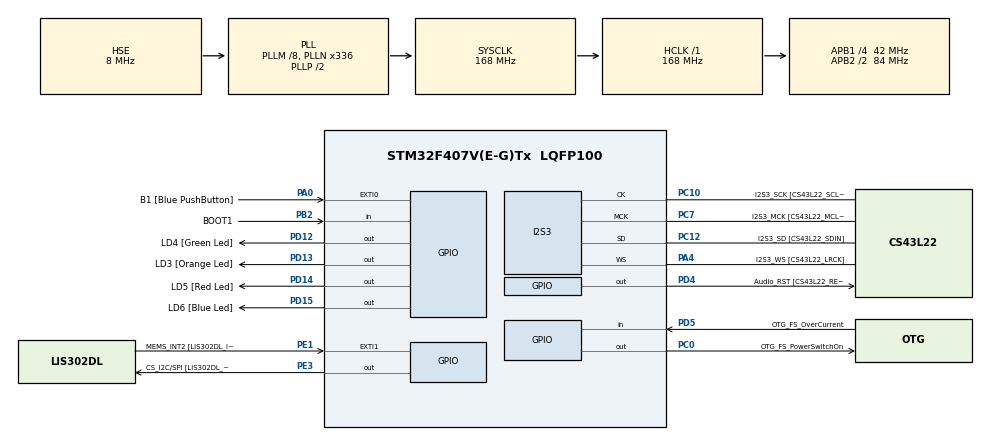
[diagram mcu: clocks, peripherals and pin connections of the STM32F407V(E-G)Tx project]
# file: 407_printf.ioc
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I2S3.AudioFreq-Half_Duplex_Master=I2S_AUDIOFREQ_96K
I2S3.ErrorAudioFreq=-2.34 %
I2S3.ErrorAudioFreq-Half_Duplex_Master=0.8 %
I2S3.FullDuplexMode=I2S_FULLDUPLEXMODE_DISABLE
I2S3.Instance=SPI$Index
I2S3.RealAudioFreq=93.75 KHz
I2S3.RealAudioFreq-Half_Duplex_Master=96.774 KHz
I2S3.VirtualMode=I2S_MODE_MASTER
Mcu.Family=STM32F4
Mcu.Name=STM32F407V(E-G)Tx
Mcu.Package=LQFP100
NVIC.PriorityGroup=NVIC_PRIORITYGROUP_0
PA0-WKUP.GPIO_Label=B1 [Blue PushButton]
PA0-WKUP.GPIO_ModeDefaultEXTI=GPIO_MODE_EVT_RISING
PA0-WKUP.GPIO_PuPd=GPIO_NOPULL
PA0-WKUP.Signal=GPXTI0
PA10.GPIO_Label=OTG_FS_ID
PA10.GPIO_Mode=GPIO_MODE_AF_PP
PA10.GPIO_PuPd=GPIO_NOPULL
PA10.GPIO_Speed=GPIO_SPEED_FREQ_LOW
PA10.Signal=USB_OTG_FS_ID
PA11.GPIO_Label=OTG_FS_DM
PA11.GPIO_Mode=GPIO_MODE_AF_PP
PA11.GPIO_PuPd=GPIO_NOPULL
PA11.GPIO_Speed=GPIO_SPEED_FREQ_LOW
PA11.Signal=USB_OTG_FS_DM
PA12.GPIO_Label=OTG_FS_DP
PA12.GPIO_Mode=GPIO_MODE_AF_PP
PA12.GPIO_PuPd=GPIO_NOPULL
PA12.GPIO_Speed=GPIO_SPEED_FREQ_LOW
PA12.Signal=USB_OTG_FS_DP
PA13.GPIO_Label=SWDIO
PA13.Mode=Trace_Asynchronous_SW
PA13.Signal=SYS_JTMS-SWDIO
PA14.GPIO_Label=SWCLK
PA14.Mode=Trace_Asynchronous_SW
PA14.Signal=SYS_JTCK-SWCLK
PA4.GPIO_Label=I2S3_WS [CS43L22_LRCK]
PA4.GPIO_Mode=GPIO_MODE_AF_PP
PA4.GPIO_PuPd=GPIO_NOPULL
PA4.GPIO_Speed=GPIO_SPEED_FREQ_LOW
PA4.Mode=Half_Duplex_Master
PA4.Signal=I2S3_WS
PA5.GPIO_Label=SPI1_SCK [LIS302DL_SCL/SPC]
PA5.GPIO_Mode=GPIO_MODE_AF_PP
PA5.GPIO_PuPd=GPIO_NOPULL
PA5.GPIO_Speed=GPIO_SPEED_FREQ_LOW
PA5.Signal=SPI1_SCK
PA6.GPIO_Label=SPI1_MISO [LIS302DL_SDO]
PA6.GPIO_Mode=GPIO_MODE_AF_PP
PA6.GPIO_PuPd=GPIO_NOPULL
PA6.GPIO_Speed=GPIO_SPEED_FREQ_LOW
PA6.Signal=SPI1_MISO
PA7.GPIO_Label=SPI1_MOSI [LIS302DL_SDA/SDI/SDO]
PA7.GPIO_Mode=GPIO_MODE_AF_PP
PA7.GPIO_PuPd=GPIO_NOPULL
PA7.GPIO_Speed=GPIO_SPEED_FREQ_LOW
PA7.Signal=SPI1_MOSI
PA9.GPIO_Label=VBUS_FS
PA9.GPIO_Mode=GPIO_MODE_INPUT
PA9.GPIO_PuPd=GPIO_NOPULL
PA9.Signal=USB_OTG_FS_VBUS
PB10.GPIO_Label=CLK_IN [MP45DT02_CLK]
PB10.GPIO_Mode=GPIO_MODE_AF_PP
PB10.GPIO_PuPd=GPIO_NOPULL
PB10.GPIO_Speed=GPIO_SPEED_FREQ_LOW
PB10.Signal=I2S2_CK
PB2.GPIO_Label=BOOT1
PB2.GPIO_Mode=GPIO_MODE_INPUT
PB2.GPIO_PuPd=GPIO_NOPULL
PB2.Signal=GPIO_Input
PB3.GPIO_Label=SWO
PB3.Mode=Trace_Asynchronous_SW
PB3.Signal=SYS_JTDO-SWO
PB6.GPIO_Label=Audio_SCL [CS43L22_SCL]
PB6.GPIO_Mode=GPIO_MODE_AF_OD
PB6.GPIO_Pu=GPIO_PULLUP
PB6.GPIO_PuPd=GPIO_NOPULL
PB6.GPIO_Speed=GPIO_SPEED_FREQ_LOW
PB6.Signal=I2C1_SCL
PB9.GPIO_Label=Audio_SDA [CS43L22_SDA]
PB9.GPIO_Mode=GPIO_MODE_AF_OD
PB9.GPIO_Pu=GPIO_PULLUP
PB9.GPIO_PuPd=GPIO_NOPULL
PB9.GPIO_Speed=GPIO_SPEED_FREQ_LOW
PB9.Signal=I2C1_SDA
PC0.GPIO_Label=OTG_FS_PowerSwitchOn
PC0.GPIO_PuPd=GPIO_NOPULL
PC0.GPIO_Speed=GPIO_SPEED_FREQ_LOW
PC0.PinState=GPIO_PIN_SET
PC0.Signal=GPIO_Output
PC10.GPIO_Label=I2S3_SCK [CS43L22_SCLK]
PC10.GPIO_Mode=GPIO_MODE_AF_PP
PC10.GPIO_PuPd=GPIO_NOPULL
PC10.GPIO_Speed=GPIO_SPEED_FREQ_LOW
PC10.Mode=Half_Duplex_Master
PC10.Signal=I2S3_CK
PC12.GPIO_Label=I2S3_SD [CS43L22_SDIN]
PC12.GPIO_Mode=GPIO_MODE_AF_PP
PC12.GPIO_PuPd=GPIO_NOPULL
PC12.GPIO_Speed=GPIO_SPEED_FREQ_LOW
PC12.Mode=Half_Duplex_Master
PC12.Signal=I2S3_SD
PC14-OSC32_IN.GPIO_Label=PC14-OSC32_IN
PC14-OSC32_IN.Mode=LSE-External-Oscillator
PC14-OSC32_IN.Signal=RCC_OSC32_IN
PC15-OSC32_OUT.GPIO_Label=PC15-OSC32_OUT
PC15-OSC32_OUT.Mode=LSE-External-Oscillator
PC15-OSC32_OUT.Signal=RCC_OSC32_OUT
PC3.GPIO_Label=PDM_OUT [MP45DT02_DOUT]
PC3.GPIO_Mode=GPIO_MODE_AF_PP
PC3.GPIO_PuPd=GPIO_NOPULL
PC3.GPIO_Speed=GPIO_SPEED_FREQ_LOW
PC3.Signal=I2S2_SD
PC7.GPIO_Label=I2S3_MCK [CS43L22_MCLK]
PC7.GPIO_Mode=GPIO_MODE_AF_PP
PC7.GPIO_PuPd=GPIO_NOPULL
PC7.GPIO_Speed=GPIO_SPEED_FREQ_LOW
PC7.Mode=Master_Clock_Activated
PC7.Signal=I2S3_MCK
PD12.GPIO_Label=LD4 [Green Led]
PD12.GPIO_PuPd=GPIO_NOPULL
PD12.GPIO_Speed=GPIO_SPEED_FREQ_LOW
PD12.Signal=GPIO_Output
PD13.GPIO_Label=LD3 [Orange Led]
PD13.GPIO_PuPd=GPIO_NOPULL
PD13.GPIO_Speed=GPIO_SPEED_FREQ_LOW
PD13.Signal=GPIO_Output
PD14.GPIO_Label=LD5 [Red Led]
PD14.GPIO_PuPd=GPIO_NOPULL
PD14.GPIO_Speed=GPIO_SPEED_FREQ_LOW
PD14.Signal=GPIO_Output
PD15.GPIO_Label=LD6 [Blue Led]
PD15.GPIO_PuPd=GPIO_NOPULL
PD15.GPIO_Speed=GPIO_SPEED_FREQ_LOW
PD15.Signal=GPIO_Output
PD4.GPIO_Label=Audio_RST [CS43L22_RESET]
PD4.GPIO_PuPd=GPIO_NOPULL
PD4.GPIO_Speed=GPIO_SPEED_FREQ_LOW
PD4.Signal=GPIO_Output
PD5.GPIO_Label=OTG_FS_OverCurrent
PD5.GPIO_Mode=GPIO_MODE_INPUT
PD5.GPIO_PuPd=GPIO_NOPULL
PD5.Signal=GPIO_Input
PE1.GPIO_Label=MEMS_INT2 [LIS302DL_INT2]
PE1.GPIO_ModeDefaultEXTI=GPIO_MODE_EVT_RISING
PE1.GPIO_PuPd=GPIO_NOPULL
PE1.Signal=GPXTI1
PE3.GPIO_Label=CS_I2C/SPI [LIS302DL_CS_I2C/SPI]
PE3.GPIO_PuPd=GPIO_NOPULL
PE3.GPIO_Speed=GPIO_SPEED_FREQ_LOW
PE3.Signal=GPIO_Output
PH0-OSC_IN.GPIO_Label=PH0-OSC_IN
PH0-OSC_IN.Mode=HSE-External-Oscillator
PH0-OSC_IN.Signal=RCC_OSC_IN
PH1-OSC_OUT.GPIO_Label=PH1-OSC_OUT
PH1-OSC_OUT.Mode=HSE-External-Oscillator
PH1-OSC_OUT.Signal=RCC_OSC_OUT
ProjectManager.HeapSize=0x200
ProjectManager.StackSize=0x400
ProjectManager.TargetToolchain=STM32CubeIDE
RCC.48MHZClocksFreq_Value=48000000
RCC.AHBFreq_Value=168000000
RCC.APB1CLKDivider=RCC_HCLK_DIV4
RCC.APB1Freq_Value=42000000
RCC.APB1TimFreq_Value=84000000
RCC.APB2CLKDivider=RCC_HCLK_DIV2
RCC.APB2Freq_Value=84000000
RCC.APB2TimFreq_Value=168000000
RCC.CortexFreq_Value=168000000
RCC.HCLKFreq_Value=168000000
RCC.HSE_VALUE=8000000
RCC.HSI_VALUE=16000000
RCC.PLLM=8
RCC.PLLN=336
RCC.PLLQ=7
RCC.PLLSourceVirtual=RCC_PLLSOURCE_HSE
RCC.SYSCLKFreq_VALUE=168000000
RCC.SYSCLKSource=RCC_SYSCLKSOURCE_PLLCLK
RCC.VCOOutputFreq_Value=336000000
board=STM32F407G-DISC1

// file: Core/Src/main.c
/* USER CODE BEGIN Header */
/**
  ******************************************************************************
  * @file           : main.c
  * @brief          : Main program body
  ******************************************************************************
  * @attention
  *
  * <h2><center>&copy; Copyright (c) 2022 STMicroelectronics.
  * All rights reserved.</center></h2>
  *
  * This software component is licensed by ST under Ultimate Liberty license
  * SLA0044, the "License"; You may not use this file except in compliance with
  * the License. You may obtain a copy of the License at:
  *                             www.st.com/SLA0044
  *
  ******************************************************************************
  */
/* USER CODE END Header */
#include "main.h"

/* USER CODE BEGIN Includes */
#include "stdio.h"
/* USER CODE END Includes */

/* USER CODE BEGIN PD */
#define DEMCR        			*((volatile uint32_t*) 0xE000EDFCU )
#define ITM_STIMULUS_PORT0   	*((volatile uint32_t*) 0xE0000000 )
#define ITM_TRACE_EN          	*((volatile uint32_t*) 0xE0000E00 )

/* USER CODE END PD */

I2S_HandleTypeDef hi2s3;

void SystemClock_Config(void);
static void MX_GPIO_Init(void);
static void MX_I2S3_Init(void);
/* USER CODE BEGIN PFP */
void xITM_SendChar(uint8_t ch)
{

	//Enable TRCENA
	DEMCR |= ( 1 << 24);

	//enable stimulus port 0
	ITM_TRACE_EN |= ( 1 << 0);

	// read FIFO status in bit [0]:
	while(!(ITM_STIMULUS_PORT0 & 1));

	//Write to ITM stimulus port0
	ITM_STIMULUS_PORT0 = ch;
}

int _write(int file, char *ptr, int len)
{
  /* Implement your write code here, this is used by puts and printf for example */
  int i=0;

  for(i=0 ; i<len ; i++)
    xITM_SendChar((*ptr++));

  return len;
}

/* USER CODE END PFP */

int main(void)
{

  /* MCU Configuration--------------------------------------------------------*/

  /* Reset of all peripherals, Initializes the Flash interface and the Systick. */
  HAL_Init();

  /* Configure the system clock */
  SystemClock_Config();

  /* Initialize all configured peripherals */
  MX_GPIO_Init();
  MX_I2S3_Init();

  /* Infinite loop */
  while (1)
  {

    /* USER CODE BEGIN 3 */
		printf("Merhaba!Merhaba!Merhaba!Merhaba!Merhaba!Merhaba!Merhaba!\n");
		HAL_Delay(1);
  }
  /* USER CODE END 3 */
}

void SystemClock_Config(void)
{
  RCC_OscInitTypeDef RCC_OscInitStruct = {0};
  RCC_ClkInitTypeDef RCC_ClkInitStruct = {0};

  /** Configure the main internal regulator output voltage
  */
  __HAL_RCC_PWR_CLK_ENABLE();
  __HAL_PWR_VOLTAGESCALING_CONFIG(PWR_REGULATOR_VOLTAGE_SCALE1);
  /** Initializes the RCC Oscillators according to the specified parameters
  * in the RCC_OscInitTypeDef structure.
  */
  RCC_OscInitStruct.OscillatorType = RCC_OSCILLATORTYPE_HSE;
  RCC_OscInitStruct.HSEState = RCC_HSE_ON;
  RCC_OscInitStruct.PLL.PLLState = RCC_PLL_ON;
  RCC_OscInitStruct.PLL.PLLSource = RCC_PLLSOURCE_HSE;
  RCC_OscInitStruct.PLL.PLLM = 8;
  RCC_OscInitStruct.PLL.PLLN = 336;
  RCC_OscInitStruct.PLL.PLLP = RCC_PLLP_DIV2;
  RCC_OscInitStruct.PLL.PLLQ = 7;
  if (HAL_RCC_OscConfig(&RCC_OscInitStruct) != HAL_OK)
  {
    Error_Handler();
  }
  /** Initializes the CPU, AHB and APB buses clocks
  */
  RCC_ClkInitStruct.ClockType = RCC_CLOCKTYPE_HCLK|RCC_CLOCKTYPE_SYSCLK
                              |RCC_CLOCKTYPE_PCLK1|RCC_CLOCKTYPE_PCLK2;
  RCC_ClkInitStruct.SYSCLKSource = RCC_SYSCLKSOURCE_PLLCLK;
  RCC_ClkInitStruct.AHBCLKDivider = RCC_SYSCLK_DIV1;
  RCC_ClkInitStruct.APB1CLKDivider = RCC_HCLK_DIV4;
  RCC_ClkInitStruct.APB2CLKDivider = RCC_HCLK_DIV2;

  if (HAL_RCC_ClockConfig(&RCC_ClkInitStruct, FLASH_LATENCY_5) != HAL_OK)
  {
    Error_Handler();
  }
}

static void MX_I2S3_Init(void)
{

  hi2s3.Instance = SPI3;
  hi2s3.Init.Mode = I2S_MODE_MASTER_TX;
  hi2s3.Init.Standard = I2S_STANDARD_PHILIPS;
  hi2s3.Init.DataFormat = I2S_DATAFORMAT_16B;
  hi2s3.Init.MCLKOutput = I2S_MCLKOUTPUT_ENABLE;
  hi2s3.Init.AudioFreq = I2S_AUDIOFREQ_96K;
  hi2s3.Init.CPOL = I2S_CPOL_LOW;
  hi2s3.Init.ClockSource = I2S_CLOCK_PLL;
  hi2s3.Init.FullDuplexMode = I2S_FULLDUPLEXMODE_DISABLE;
  if (HAL_I2S_Init(&hi2s3) != HAL_OK)
  {
    Error_Handler();
  }

}

static void MX_GPIO_Init(void)
{
  GPIO_InitTypeDef GPIO_InitStruct = {0};

  /* GPIO Ports Clock Enable */
  __HAL_RCC_GPIOE_CLK_ENABLE();
  __HAL_RCC_GPIOC_CLK_ENABLE();
  __HAL_RCC_GPIOH_CLK_ENABLE();
  __HAL_RCC_GPIOA_CLK_ENABLE();
  __HAL_RCC_GPIOB_CLK_ENABLE();
  __HAL_RCC_GPIOD_CLK_ENABLE();

  /*Configure GPIO pin Output Level */
  HAL_GPIO_WritePin(CS_I2C_SPI_GPIO_Port, CS_I2C_SPI_Pin, GPIO_PIN_RESET);

  /*Configure GPIO pin Output Level */
  HAL_GPIO_WritePin(OTG_FS_PowerSwitchOn_GPIO_Port, OTG_FS_PowerSwitchOn_Pin, GPIO_PIN_SET);

  /*Configure GPIO pin Output Level */
  HAL_GPIO_WritePin(GPIOD, LD4_Pin|LD3_Pin|LD5_Pin|LD6_Pin
                          |Audio_RST_Pin, GPIO_PIN_RESET);

  /*Configure GPIO pin : CS_I2C_SPI_Pin */
  GPIO_InitStruct.Pin = CS_I2C_SPI_Pin;
  GPIO_InitStruct.Mode = GPIO_MODE_OUTPUT_PP;
  GPIO_InitStruct.Pull = GPIO_NOPULL;
  GPIO_InitStruct.Speed = GPIO_SPEED_FREQ_LOW;
  HAL_GPIO_Init(CS_I2C_SPI_GPIO_Port, &GPIO_InitStruct);

  /*Configure GPIO pin : OTG_FS_PowerSwitchOn_Pin */
  GPIO_InitStruct.Pin = OTG_FS_PowerSwitchOn_Pin;
  GPIO_InitStruct.Mode = GPIO_MODE_OUTPUT_PP;
  GPIO_InitStruct.Pull = GPIO_NOPULL;
  GPIO_InitStruct.Speed = GPIO_SPEED_FREQ_LOW;
  HAL_GPIO_Init(OTG_FS_PowerSwitchOn_GPIO_Port, &GPIO_InitStruct);

  /*Configure GPIO pin : PDM_OUT_Pin */
  GPIO_InitStruct.Pin = PDM_OUT_Pin;
  GPIO_InitStruct.Mode = GPIO_MODE_AF_PP;
  GPIO_InitStruct.Pull = GPIO_NOPULL;
  GPIO_InitStruct.Speed = GPIO_SPEED_FREQ_LOW;
  GPIO_InitStruct.Alternate = GPIO_AF5_SPI2;
  HAL_GPIO_Init(PDM_OUT_GPIO_Port, &GPIO_InitStruct);

  /*Configure GPIO pin : B1_Pin */
  GPIO_InitStruct.Pin = B1_Pin;
  GPIO_InitStruct.Mode = GPIO_MODE_EVT_RISING;
  GPIO_InitStruct.Pull = GPIO_NOPULL;
  HAL_GPIO_Init(B1_GPIO_Port, &GPIO_InitStruct);

  /*Configure GPIO pins : SPI1_SCK_Pin SPI1_MISO_Pin SPI1_MOSI_Pin */
  GPIO_InitStruct.Pin = SPI1_SCK_Pin|SPI1_MISO_Pin|SPI1_MOSI_Pin;
  GPIO_InitStruct.Mode = GPIO_MODE_AF_PP;
  GPIO_InitStruct.Pull = GPIO_NOPULL;
  GPIO_InitStruct.Speed = GPIO_SPEED_FREQ_LOW;
  GPIO_InitStruct.Alternate = GPIO_AF5_SPI1;
  HAL_GPIO_Init(GPIOA, &GPIO_InitStruct);

  /*Configure GPIO pin : BOOT1_Pin */
  GPIO_InitStruct.Pin = BOOT1_Pin;
  GPIO_InitStruct.Mode = GPIO_MODE_INPUT;
  GPIO_InitStruct.Pull = GPIO_NOPULL;
  HAL_GPIO_Init(BOOT1_GPIO_Port, &GPIO_InitStruct);

  /*Configure GPIO pin : CLK_IN_Pin */
  GPIO_InitStruct.Pin = CLK_IN_Pin;
  GPIO_InitStruct.Mode = GPIO_MODE_AF_PP;
  GPIO_InitStruct.Pull = GPIO_NOPULL;
  GPIO_InitStruct.Speed = GPIO_SPEED_FREQ_LOW;
  GPIO_InitStruct.Alternate = GPIO_AF5_SPI2;
  HAL_GPIO_Init(CLK_IN_GPIO_Port, &GPIO_InitStruct);

  /*Configure GPIO pins : LD4_Pin LD3_Pin LD5_Pin LD6_Pin
                           Audio_RST_Pin */
  GPIO_InitStruct.Pin = LD4_Pin|LD3_Pin|LD5_Pin|LD6_Pin
                          |Audio_RST_Pin;
  GPIO_InitStruct.Mode = GPIO_MODE_OUTPUT_PP;
  GPIO_InitStruct.Pull = GPIO_NOPULL;
  GPIO_InitStruct.Speed = GPIO_SPEED_FREQ_LOW;
  HAL_GPIO_Init(GPIOD, &GPIO_InitStruct);

  /*Configure GPIO pin : VBUS_FS_Pin */
  GPIO_InitStruct.Pin = VBUS_FS_Pin;
  GPIO_InitStruct.Mode = GPIO_MODE_INPUT;
  GPIO_InitStruct.Pull = GPIO_NOPULL;
  HAL_GPIO_Init(VBUS_FS_GPIO_Port, &GPIO_InitStruct);

  /*Configure GPIO pins : OTG_FS_ID_Pin OTG_FS_DM_Pin OTG_FS_DP_Pin */
  GPIO_InitStruct.Pin = OTG_FS_ID_Pin|OTG_FS_DM_Pin|OTG_FS_DP_Pin;
  GPIO_InitStruct.Mode = GPIO_MODE_AF_PP;
  GPIO_InitStruct.Pull = GPIO_NOPULL;
  GPIO_InitStruct.Speed = GPIO_SPEED_FREQ_LOW;
  GPIO_InitStruct.Alternate = GPIO_AF10_OTG_FS;
  HAL_GPIO_Init(GPIOA, &GPIO_InitStruct);

  /*Configure GPIO pin : OTG_FS_OverCurrent_Pin */
  GPIO_InitStruct.Pin = OTG_FS_OverCurrent_Pin;
  GPIO_InitStruct.Mode = GPIO_MODE_INPUT;
  GPIO_InitStruct.Pull = GPIO_NOPULL;
  HAL_GPIO_Init(OTG_FS_OverCurrent_GPIO_Port, &GPIO_InitStruct);

  /*Configure GPIO pins : Audio_SCL_Pin Audio_SDA_Pin */
  GPIO_InitStruct.Pin = Audio_SCL_Pin|Audio_SDA_Pin;
  GPIO_InitStruct.Mode = GPIO_MODE_AF_OD;
  GPIO_InitStruct.Pull = GPIO_PULLUP;
  GPIO_InitStruct.Speed = GPIO_SPEED_FREQ_LOW;
  GPIO_InitStruct.Alternate = GPIO_AF4_I2C1;
  HAL_GPIO_Init(GPIOB, &GPIO_InitStruct);

  /*Configure GPIO pin : MEMS_INT2_Pin */
  GPIO_InitStruct.Pin = MEMS_INT2_Pin;
  GPIO_InitStruct.Mode = GPIO_MODE_EVT_RISING;
  GPIO_InitStruct.Pull = GPIO_NOPULL;
  HAL_GPIO_Init(MEMS_INT2_GPIO_Port, &GPIO_InitStruct);

}

void Error_Handler(void)
{
  __disable_irq();
  while (1)
  {
  }
}

/************************ (C) COPYRIGHT STMicroelectronics *****END OF FILE****/
